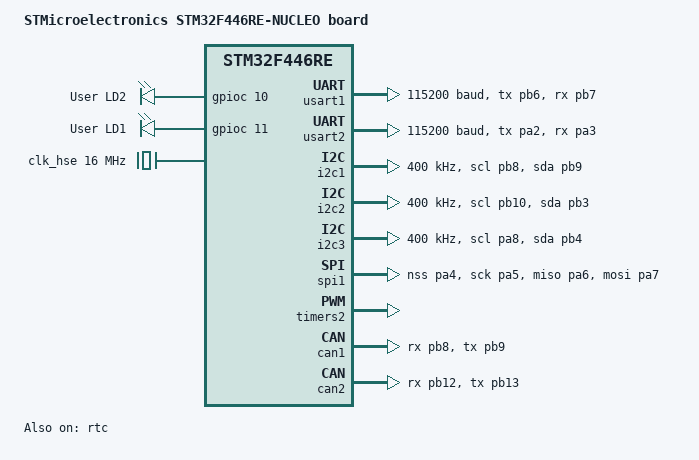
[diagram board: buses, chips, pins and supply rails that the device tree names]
/*
 * Copyright (c) 2018 Philémon Jaermann
 *
 * SPDX-License-Identifier: Apache-2.0
 */

/dts-v1/;
#include <st/f4/stm32f446Xe.dtsi>
#include <st/f4/stm32f446r(c-e)tx-pinctrl.dtsi>
#include <zephyr/dt-bindings/input/input-event-codes.h>

/ {
	model = "STMicroelectronics STM32F446RE-NUCLEO board";
	compatible = "st,stm32f446re-nucleo";

	chosen {
		zephyr,console = &usart2;
		zephyr,shell-uart = &usart2;
		zephyr,sram = &sram0;
		zephyr,flash = &flash0;
		zephyr,canbus = &can1;
	};

	leds: leds {
		compatible = "gpio-leds";

		green_led_2: led_2 {
			gpios = <&gpioc 10 GPIO_ACTIVE_HIGH>;
			label = "User LD2";
		};

        red_led_2: led_3 {
			gpios = <&gpioc 11 GPIO_ACTIVE_HIGH>;
			label = "User LD1";
		};
	};

	aliases {
		led0 = &green_led_2;
        led1 = &red_led_2;
	};
};

&clk_lsi {
	status = "okay";
};

&clk_hse {
	clock-frequency = <DT_FREQ_M(16)>; /* STLink 8MHz clock */
	status = "okay";
};

&pll {
	div-m = <8>;
	mul-n = <96>;
	div-p = <2>;
	div-q = <4>;
	clocks = <&clk_hse>;
	status = "okay";
};

&rcc {
	clocks = <&pll>;
	clock-frequency = <DT_FREQ_M(96)>;
	ahb-prescaler = <1>;
	apb1-prescaler = <4>;
	apb2-prescaler = <2>;
};

&usart1 {
	pinctrl-0 = <&usart1_tx_pb6 &usart1_rx_pb7>;
	pinctrl-names = "default";
	current-speed = <115200>;
	status = "okay";
};

&usart2 {
	pinctrl-0 = <&usart2_tx_pa2 &usart2_rx_pa3>;
	pinctrl-names = "default";
	current-speed = <115200>;
	status = "okay";
};

&i2c1 {
	pinctrl-0 = <&i2c1_scl_pb8 &i2c1_sda_pb9>;
	pinctrl-names = "default";
	scl-gpios = <&gpiob 8 GPIO_ACTIVE_HIGH>;
	sda-gpios = <&gpiob 9 GPIO_ACTIVE_HIGH>;
	status = "okay";
	clock-frequency = <I2C_BITRATE_FAST>;
	scl-gpios = <&gpiob 8 GPIO_ACTIVE_HIGH>;
	sda-gpios = <&gpiob 9 GPIO_ACTIVE_HIGH>;
};

&i2c2 {
	pinctrl-0 = <&i2c2_scl_pb10 &i2c2_sda_pb3>;
	pinctrl-names = "default";
	scl-gpios = <&gpiob 10 GPIO_ACTIVE_HIGH>;
	sda-gpios = <&gpiob 3 GPIO_ACTIVE_HIGH>;
	status = "okay";
	clock-frequency = <I2C_BITRATE_FAST>;
};

&i2c3 {
	pinctrl-0 = <&i2c3_scl_pa8 &i2c3_sda_pb4>;
	pinctrl-names = "default";
	scl-gpios = <&gpioa 8 GPIO_ACTIVE_HIGH>;
	sda-gpios = <&gpiob 4 GPIO_ACTIVE_HIGH>;
	status = "okay";
	clock-frequency = <I2C_BITRATE_FAST>;
};

&spi1 {
	pinctrl-0 = <&spi1_nss_pa4 &spi1_sck_pa5
		     &spi1_miso_pa6 &spi1_mosi_pa7>;
	pinctrl-names = "default";
	status = "okay";
};

&timers2 {
	status = "okay";

	pwm2: pwm {
		status = "okay";
		pinctrl-0 = <&tim2_ch1_pa5>;
		pinctrl-names = "default";
	};
};

&rtc {
	clocks = <&rcc STM32_CLOCK(APB1, 28)>,
		 <&rcc STM32_SRC_LSI RTC_SEL(2)>;
	status = "okay";
};

&backup_sram {
	status = "okay";
};

&can1 {
	/* CAUTION: PB8 and PB9 may conflict with same pins of I2C1 */
	pinctrl-0 = <&can1_rx_pb8 &can1_tx_pb9>;
	pinctrl-names = "default";
	status = "okay";
};

&can2 {
	pinctrl-0 = <&can2_rx_pb12 &can2_tx_pb13>;
	pinctrl-names = "default";
	status = "okay";
};

&flash0 {
	partitions {
		#address-cells = <1>;
		#size-cells = <1>;
		ranges;

		boot_partition: partition@0 {
			compatible = "zephyr,mapped-partition";
			label = "mcuboot";
			reg = <0x00000000 DT_SIZE_K(64)>;
			read-only;
		};

		/*
		 * The flash starting at 0x00010000 and ending at
		 * 0x0001ffff (sectors 16-31) is reserved for use
		 * by the application.
		 */
		storage_partition: partition@10000 {
			compatible = "zephyr,mapped-partition";
			label = "storage";
			reg = <0x00010000 DT_SIZE_K(64)>;
		};

		slot0_partition: partition@20000 {
			compatible = "zephyr,mapped-partition";
			label = "image-0";
			reg = <0x00020000 DT_SIZE_K(128)>;
		};

		slot1_partition: partition@40000 {
			compatible = "zephyr,mapped-partition";
			label = "image-1";
			reg = <0x00040000 DT_SIZE_K(128)>;
		};

		scratch_partition: partition@60000 {
			compatible = "zephyr,mapped-partition";
			label = "image-scratch";
			reg = <0x00060000 DT_SIZE_K(128)>;
		};
	};
};
